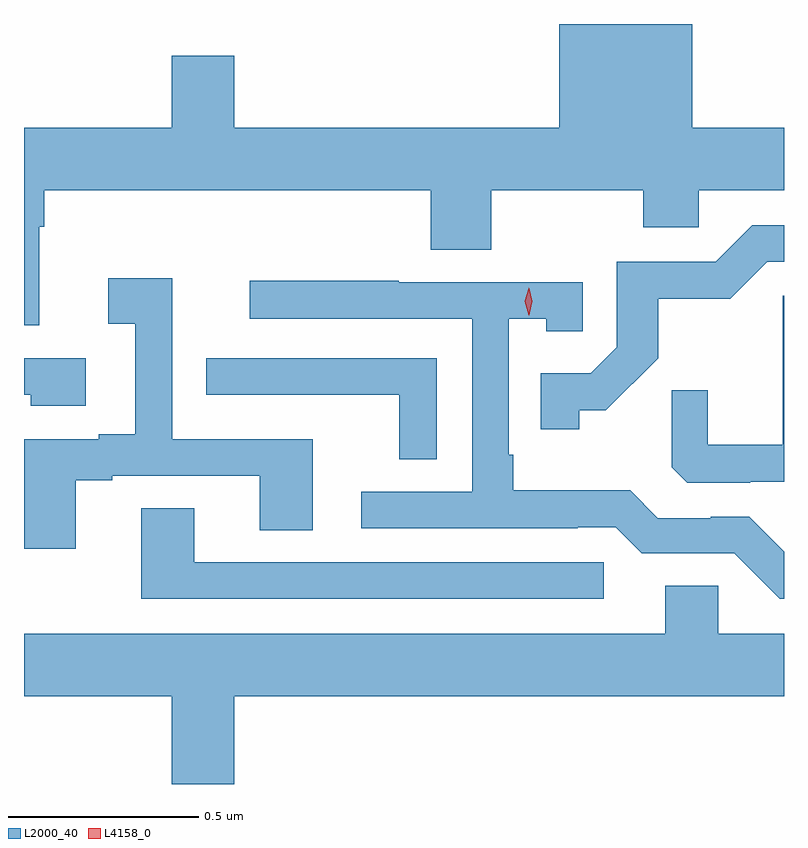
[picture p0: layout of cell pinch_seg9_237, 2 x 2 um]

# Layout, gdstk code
import gdstk
lib = gdstk.Library(unit=1e-6, precision=1e-09)
def P(c, l, *ps):  # polygons
    for p in ps: c.add(gdstk.Polygon(p, *l))
L2000_40 = (2000, 40)
L4158_0 = (4158, 0)

pinch_seg9_237 = lib.new_cell('pinch_seg9_237')
P(pinch_seg9_237, L2000_40, [(392.431,1224.296),(392.444,1224.296),(392.444,1224.392),(393.461,1224.392),(393.461,1224.235),(393.621,1224.235),(393.621,1224.392),(394.021,1224.392),(394.021,1224.294),(394.167,1224.294),(394.167,1224.392),(394.391,1224.392),(394.391,1224.556),(394.15,1224.556),(394.15,1224.829),(393.8,1224.829),(393.8,1224.556),(392.944,1224.556),(392.944,1224.745),(392.78,1224.745),(392.78,1224.556),(392.391,1224.556),(392.391,1224.036),(392.431,1224.036)],
  [(393.852,1223.813),(393.922,1223.813),(394.06,1223.95),(394.06,1224.106),(394.249,1224.106),(394.347,1224.204),(394.391,1224.204),(394.391,1224.3),(394.308,1224.3),(394.212,1224.204),(393.951,1224.204),(393.951,1223.979),(393.882,1223.91),(393.751,1223.91),(393.751,1223.763),(393.852,1223.763)],
  [(392.527,1223.628),(392.623,1223.628),(392.623,1223.64),(393.011,1223.64),(393.011,1223.497),(393.151,1223.497),(393.151,1223.736),(392.781,1223.736),(392.781,1224.16),(392.613,1224.16),(392.613,1224.04),(392.684,1224.04),(392.684,1223.749),(392.588,1223.749),(392.588,1223.736),(392.391,1223.736),(392.391,1223.448),(392.527,1223.448)],
  [(394.391,1223.44),(394.299,1223.532),(394.198,1223.532),(394.198,1223.529),(394.059,1223.529),(393.986,1223.602),(393.679,1223.602),(393.679,1223.695),(393.666,1223.695),(393.666,1224.053),(393.765,1224.053),(393.765,1224.021),(393.861,1224.021),(393.861,1224.15),(393.377,1224.15),(393.377,1224.153),(392.985,1224.153),(392.985,1224.054),(393.57,1224.054),(393.57,1223.598),(393.279,1223.598),(393.279,1223.502),(393.848,1223.502),(393.848,1223.505),(393.948,1223.505),(394.017,1223.436),(394.26,1223.436),(394.38,1223.316),(394.391,1223.316)],
  [(394.302,1223.625),(394.391,1223.625),(394.391,1224.114),(394.388,1224.114),(394.388,1223.722),(394.19,1223.722),(394.19,1223.865),(394.096,1223.865),(394.096,1223.663),(394.137,1223.622),(394.302,1223.622)],
  [(393.477,1223.949),(392.871,1223.949),(392.871,1223.854),(392.983,1223.854),(392.983,1223.853),(393.379,1223.853),(393.379,1223.683),(393.477,1223.683)],
  [(392.554,1223.949),(392.391,1223.949),(392.391,1223.853),(392.409,1223.853),(392.409,1223.825),(392.554,1223.825)],
  [(393.916,1223.412),(392.839,1223.412),(392.839,1223.555),(392.699,1223.555),(392.699,1223.316),(393.916,1223.316)],
  [(392.944,1223.06),(394.391,1223.06),(394.391,1223.224),(394.218,1223.224),(394.218,1223.351),(394.079,1223.351),(394.079,1223.224),(392.391,1223.224),(392.391,1223.06),(392.78,1223.06),(392.78,1222.829),(392.944,1222.829)])
P(pinch_seg9_237, L4158_0, [(393.719,1224.063),(393.719,1224.063),(393.709,1224.099),(393.719,1224.134),(393.719,1224.135),(393.72,1224.134),(393.729,1224.099),(393.72,1224.063)])

lib.write_gds('pinch_seg9_237.gds')
